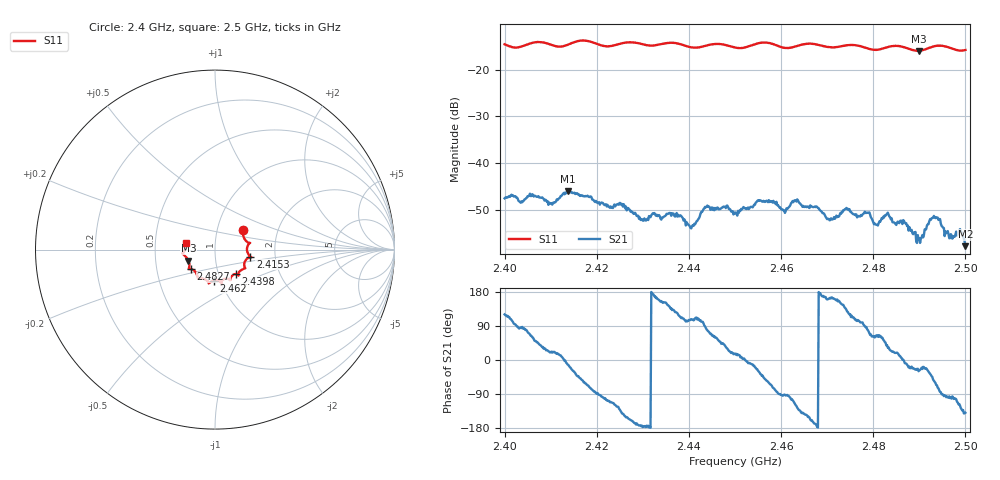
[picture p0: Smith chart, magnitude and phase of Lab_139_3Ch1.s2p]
# Hz S RI R 50
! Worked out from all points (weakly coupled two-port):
!   601 points, 2.4 GHz to 2.5 GHz, reference 50 ohm
!   highest |S21| = -46.06 dB at 2.4137 GHz (marker M1); lowest = -57.9 dB at 2.5 GHz (marker M2)
!   lowest |S11| = -15.9 dB at 2.4898 GHz (marker M3), VSWR 1.38, Z = 36.8 - j4.64 ohm
!   |S11| at or under -10 dB: start of sweep to end of sweep
!   S12 and S22 are empty: the file has one direction only
!   S11 on the Smith chart (normalised r, x): 2.4 GHz: 1.33, +0.29; 2.4153 GHz: 1.48, -0.12; 2.4398 GHz: 1.21, -0.34; 2.462 GHz: 0.93, -0.33; 2.4827 GHz: 0.75, -0.17; 2.5 GHz: 0.72, +0.06
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2.4e9  0.1552 0.107  -0.0021 0.0036  0 0  0 0
2.41e9  0.1851 0.0267  0.00343 0.00128  0 0  0 0
2.413667e9  0.1846 -0.0232  0.00487 -0.00102  0 0  0 0
2.415333e9  0.1966 -0.0388  0.00381 -0.00265  0 0  0 0
2.416667e9  0.2026 -0.0429  0.0028 -0.00354  0 0  0 0
2.4255e9  0.1662 -0.0997  -0.00283 -0.00227  0 0  0 0
2.429667e9  0.1565 -0.1089  -0.00243 -0.000212  0 0  0 0
2.433333e9  0.1298 -0.1343  -0.00256 0.000926  0 0  0 0
2.439833e9  0.115 -0.1359  -0.000501 0.00212  0 0  0 0
2.443833e9  0.0854 -0.1621  0.000543 0.00335  0 0  0 0
2.45e9  0.0643 -0.162  0.00275 0.000843  0 0  0 0
2.455167e9  0.0363 -0.1907  0.00337 -0.00199  0 0  0 0
2.462e9  -0.0053 -0.1728  -0.000568 -0.00347  0 0  0 0
2.466667e9  -0.0346 -0.188  -0.00317 -0.00124  0 0  0 0
2.4705e9  -0.053 -0.1674  -0.00231 0.000753  0 0  0 0
2.474333e9  -0.0906 -0.1604  -0.00196 0.00252  0 0  0 0
2.480667e9  -0.1155 -0.1168  0.000918 0.00197  0 0  0 0
2.482667e9  -0.135 -0.1087  0.00188 0.00196  0 0  0 0
2.483333e9  -0.1402 -0.1082  0.00233 0.00154  0 0  0 0
2.489833e9  -0.1482 -0.0613  0.00131 -0.000739  0 0  0 0
2.4935e9  -0.1793 -0.0242  0.00126 -0.00223  0 0  0 0
2.5e9  -0.1592 0.039  -0.000966 -0.000836  0 0  0 0
